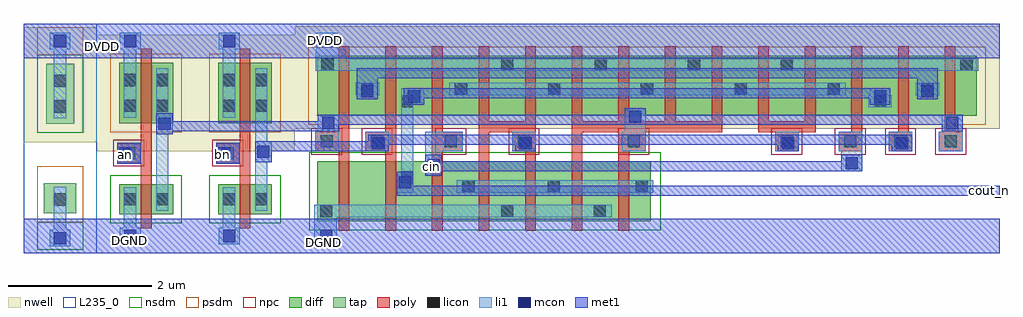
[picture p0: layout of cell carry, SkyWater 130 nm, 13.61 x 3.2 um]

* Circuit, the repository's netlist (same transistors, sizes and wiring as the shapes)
* NGSPICE file created from carry.ext - technology: sky130A

.subckt carry an bn DVDD DGND cin cout_n
X0 DGND a_n455_n7# a_81_n27# DGND sky130_fd_pr__nfet_01v8 ad=0.21 pd=1.34 as=0.21 ps=1.34 w=0.84 l=0.15
X1 a_n179_n27# a_n731_n7# DGND DGND sky130_fd_pr__nfet_01v8 ad=0.21 pd=1.34 as=0.252 ps=2.28 w=0.84 l=0.15
X2 a_81_n27# a_n731_n7# DGND DGND sky130_fd_pr__nfet_01v8 ad=0.252 pd=2.28 as=0.21 ps=1.34 w=0.84 l=0.15
X3 cout_n a_n455_n7# a_n179_267# DVDD sky130_fd_pr__pfet_01v8 ad=0.21 pd=1.34 as=0.21 ps=1.34 w=0.84 l=0.15
X4 DGND a_n731_n7# a_81_n27# DGND sky130_fd_pr__nfet_01v8 ad=0.21 pd=1.34 as=0.21 ps=1.34 w=0.84 l=0.15
X5 a_81_n27# a_n455_n7# DGND DGND sky130_fd_pr__nfet_01v8 ad=0.21 pd=1.34 as=0.21 ps=1.34 w=0.84 l=0.15
X6 a_n455_n7# bn DGND DGND sky130_fd_pr__nfet_01v8 ad=0.126 pd=1.44 as=0.126 ps=1.44 w=0.42 l=0.15
X7 a_n731_n7# an DGND DGND sky130_fd_pr__nfet_01v8 ad=0.126 pd=1.44 as=0.126 ps=1.44 w=0.42 l=0.15
X8 DVDD a_n455_n7# a_81_267# DVDD sky130_fd_pr__pfet_01v8 ad=0.21 pd=1.34 as=0.21 ps=1.34 w=0.84 l=0.15
X9 a_n179_267# a_n731_n7# DVDD DVDD sky130_fd_pr__pfet_01v8 ad=0.21 pd=1.34 as=0.252 ps=2.28 w=0.84 l=0.15
X10 a_81_267# a_n731_n7# DVDD DVDD sky130_fd_pr__pfet_01v8 ad=0.21 pd=1.34 as=0.21 ps=1.34 w=0.84 l=0.15
X11 a_81_n27# cin cout_n DGND sky130_fd_pr__nfet_01v8 ad=0.21 pd=1.34 as=0.21 ps=1.34 w=0.84 l=0.15
X12 DVDD a_n731_n7# a_81_267# DVDD sky130_fd_pr__pfet_01v8 ad=0.21 pd=1.34 as=0.21 ps=1.34 w=0.84 l=0.15
X13 DVDD a_n455_n7# a_81_267# DVDD sky130_fd_pr__pfet_01v8 ad=0.21 pd=1.34 as=0.21 ps=1.34 w=0.84 l=0.15
X14 a_81_267# a_n455_n7# DVDD DVDD sky130_fd_pr__pfet_01v8 ad=0.21 pd=1.34 as=0.21 ps=1.34 w=0.84 l=0.15
X15 a_81_267# a_n455_n7# DVDD DVDD sky130_fd_pr__pfet_01v8 ad=0.21 pd=1.34 as=0.21 ps=1.34 w=0.84 l=0.15
X16 a_81_267# a_n731_n7# DVDD DVDD sky130_fd_pr__pfet_01v8 ad=0.21 pd=1.34 as=0.21 ps=1.34 w=0.84 l=0.15
X17 a_n731_n7# an DVDD DVDD sky130_fd_pr__pfet_01v8 ad=0.252 pd=2.28 as=0.252 ps=2.28 w=0.84 l=0.15
X18 DVDD a_n731_n7# a_n179_267# DVDD sky130_fd_pr__pfet_01v8 ad=0.252 pd=2.28 as=0.21 ps=1.34 w=0.84 l=0.15
X19 DVDD a_n731_n7# a_81_267# DVDD sky130_fd_pr__pfet_01v8 ad=0.21 pd=1.34 as=0.21 ps=1.34 w=0.84 l=0.15
X20 a_n179_267# a_n455_n7# cout_n DVDD sky130_fd_pr__pfet_01v8 ad=0.21 pd=1.34 as=0.21 ps=1.34 w=0.84 l=0.15
X21 a_n455_n7# bn DVDD DVDD sky130_fd_pr__pfet_01v8 ad=0.252 pd=2.28 as=0.252 ps=2.28 w=0.84 l=0.15
X22 cout_n cin a_81_267# DVDD sky130_fd_pr__pfet_01v8 ad=0.21 pd=1.34 as=0.21 ps=1.34 w=0.84 l=0.15
X23 cout_n a_n455_n7# a_n179_n27# DGND sky130_fd_pr__nfet_01v8 ad=0.21 pd=1.34 as=0.21 ps=1.34 w=0.84 l=0.15
X24 a_81_267# cin cout_n DVDD sky130_fd_pr__pfet_01v8 ad=0.21 pd=1.34 as=0.21 ps=1.34 w=0.84 l=0.15
.ends

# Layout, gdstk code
from math import pi, radians
import gdstk
lib = gdstk.Library(unit=1e-6, precision=1e-09)
def R(c, l, rs):  # rectangles x0, y0, x1, y1
    for r in rs: c.add(gdstk.rectangle(r[:2], r[2:], *l))
def A(c, l, x, y, w, h, nx, ny, dx, dy):  # array of equal rectangles
    R(c, l, [(x+i*dx, y+j*dy, x+i*dx+w, y+j*dy+h) for i in range(nx) for j in range(ny)])
def P(c, l, *ps):  # polygons
    for p in ps: c.add(gdstk.Polygon(p, *l))
nwell = (64, 20)
diff = (65, 20)
tap = (65, 44)
poly = (66, 20)
licon = (66, 44)
li1 = (67, 20)
mcon = (67, 44)
met1 = (68, 20)
nsdm = (93, 44)
psdm = (94, 20)
npc = (95, 20)
L235_0 = (235, 0)

vias_gen = lib.new_cell('vias_gen')
R(vias_gen, li1, [(0,0,0.29,0.23)])
R(vias_gen, mcon, [(0.06,0.03,0.23,0.2)])
R(vias_gen, met1, [(0,0,0.29,0.23)])

tap_ = lib.new_cell('tap')
R(tap_, nwell, [(-1.455,0.92,-0.435,2.525)])
R(tap_, tap, [(-1.17,-0.07,-0.72,0.35), (-1.14,1.18,-0.75,2.02)])
R(tap_, licon, [(-1.03,0.04,-0.86,0.21), (-1.03,1.335,-0.86,1.505), (-1.03,1.695,-0.86,1.865)])
R(tap_, li1, [(-1.03,-0.3,-0.86,-0.025), (-1.03,-0.025,-0.86,0.305), (-1.03,1.255,-0.86,1.945), (-1.03,1.945,-0.86,2.25)])
R(tap_, met1, [(-1.455,-0.625,-0.435,-0.145), (-1.455,2.095,-0.435,2.575)])
R(tap_, nsdm, [(-1.265,-0.575,-0.625,-0.195), (-1.265,1.055,-0.625,2.145)])
R(tap_, psdm, [(-1.265,-0.195,-0.625,0.59), (-1.265,2.145,-0.625,2.525)])
R(tap_, L235_0, [(-1.455,-0.625,-0.435,2.575)])
tap_.add(gdstk.Reference(vias_gen, (-1.09,-0.53)))
tap_.add(gdstk.Reference(vias_gen, (-1.09,2.22)))

nfet = lib.new_cell('nfet')

pfet = lib.new_cell('pfet')
R(pfet, nwell, [(-0.315,-0.08,9.515,1.35)])
R(pfet, diff, [(0,0.1,9.2,0.94)])
A(pfet, poly, 0.3, -0.17, 0.15, 1.24, 7, 1, 0.65, 0)
A(pfet, poly, 4.85, -0.125, 0.15, 1.195, 6, 1, 0.65, 0)
P(pfet, poly, [(8.75,-0.125),(8.75,1.07),(8.9,1.07),(8.9,-0.125),(8.835,-0.125)])
R(pfet, psdm, [(-0.125,-0.025,9.325,1.065)])

nfet_3 = lib.new_cell('nfet$3')
R(nfet_3, diff, [(0,0.08,4.65,0.92)])
A(nfet_3, poly, 0.3, -0.05, 0.15, 1.17, 7, 1, 0.65, 0)
R(nfet_3, nsdm, [(-0.11,-0.045,4.79,1.045)])

vias_gen_1 = lib.new_cell('vias_gen$1')
R(vias_gen_1, poly, [(0,0,0.33,0.27)])
R(vias_gen_1, licon, [(0.08,0.05,0.25,0.22)])
R(vias_gen_1, li1, [(0,0,0.33,0.27)])
R(vias_gen_1, npc, [(-0.05,-0.05,0.38,0.32)])

vias_gen_3 = lib.new_cell('vias_gen$3')
R(vias_gen_3, li1, [(0,0,0.29,0.23)])
R(vias_gen_3, mcon, [(0.06,0.03,0.23,0.2)])
R(vias_gen_3, met1, [(0,0,0.29,0.23)])

vias_gen_2 = lib.new_cell('vias_gen$2')

pfet_1 = lib.new_cell('pfet$1')
R(pfet_1, nwell, [(-0.31,-0.39,1.07,1.23)])
R(pfet_1, diff, [(0.005,0,0.755,0.84)])
R(pfet_1, poly, [(0.305,-0.2,0.455,1.04)])
R(pfet_1, licon, [(0.07,0.155,0.24,0.325), (0.52,0.155,0.69,0.325), (0.07,0.515,0.24,0.685), (0.52,0.515,0.69,0.685)])
R(pfet_1, li1, [(0.07,0.075,0.24,0.765), (0.52,0.075,0.69,0.765)])
R(pfet_1, psdm, [(-0.12,-0.125,0.88,0.965)])

nfet_1 = lib.new_cell('nfet$1')
R(nfet_1, diff, [(0.005,0,0.755,0.42)])
R(nfet_1, poly, [(0.305,-0.2,0.455,0.62)])
R(nfet_1, licon, [(0.07,0.125,0.24,0.295), (0.52,0.125,0.69,0.295)])
R(nfet_1, li1, [(0.07,0.045,0.24,0.375), (0.52,0.045,0.69,0.375)])
R(nfet_1, nsdm, [(-0.12,-0.125,0.88,0.545)])

vias_gen_2_1 = lib.new_cell('vias_gen$2$1')
R(vias_gen_2_1, poly, [(0.005,0,0.335,0.27)])
R(vias_gen_2_1, licon, [(0.085,0.05,0.255,0.22)])
R(vias_gen_2_1, li1, [(0.005,0,0.335,0.27)])
R(vias_gen_2_1, npc, [(-0.045,-0.05,0.385,0.32)])

vias_gen_3_1 = lib.new_cell('vias_gen$3$1')
R(vias_gen_3_1, li1, [(0.01,0,0.3,0.23)])
R(vias_gen_3_1, mcon, [(0.07,0.03,0.24,0.2)])
R(vias_gen_3_1, met1, [(0.01,0,0.3,0.23)])

invx1_wo_tap = lib.new_cell('invx1_wo_tap')
R(invx1_wo_tap, met1, [(-0.475,-1.075,0.905,-0.595), (-0.475,1.645,0.905,2.125)])
invx1_wo_tap.add(gdstk.FlexPath([(0.44,0.815),(0.44,-0.155)], 0.17, ends="flush", simple_path=True, layer=67, datatype=20))  # li1
invx1_wo_tap.add(gdstk.FlexPath([(-0.01,-0.485),(-0.01,-0.72)], 0.17, ends="flush", simple_path=True, layer=67, datatype=20))  # li1
invx1_wo_tap.add(gdstk.FlexPath([(-0.01,1.505),(-0.01,1.77)], 0.17, ends="flush", simple_path=True, layer=67, datatype=20))  # li1
invx1_wo_tap.add(gdstk.FlexPath([(0.215,0.09),(0.215,0.54)], 0.15, ends="flush", simple_path=True, layer=66, datatype=20))  # poly
invx1_wo_tap.add(gdstk.Reference(pfet_1, (-0.165,0.74)))
invx1_wo_tap.add(gdstk.Reference(nfet_1, (-0.165,-0.53)))
invx1_wo_tap.add(gdstk.Reference(vias_gen_2_1, (-0.195,0.185)))
invx1_wo_tap.add(gdstk.Reference(vias_gen_3_1, (-0.16,-0.95)))
invx1_wo_tap.add(gdstk.Reference(vias_gen_3_1, (-0.16,1.77)))
invx1_wo_tap.add(gdstk.Label('DVDD', (-0.395,1.805), layer=68, texttype=5))
invx1_wo_tap.add(gdstk.Label('DGND', (-0.01,-0.895), layer=68, texttype=5))

vias_gen_5 = lib.new_cell('vias_gen$5')
R(vias_gen_5, li1, [(0,0,0.29,0.23)])
R(vias_gen_5, mcon, [(0.06,0.03,0.23,0.2)])
R(vias_gen_5, met1, [(0,0,0.29,0.23)])

carry = lib.new_cell('carry')
R(carry, nwell, [(-4.42,0.845,-3.04,2.465)])
R(carry, diff, [(-4.105,-0.035,-3.355,0.385), (-4.105,1.235,-3.355,2.075)])
A(carry, poly, -1.045, 0.905, 0.15, 0.16, 7, 1, 0.65, 0)
R(carry, poly, [(-3.805,-0.235,-3.655,0.585), (-4.135,0.68,-3.805,0.95), (-3.805,1.035,-3.655,2.275)])
R(carry, licon, [(-1.305,-0.075,-1.135,0.095), (1.22,-0.075,1.39,0.095), (2.51,-0.075,2.68,0.095), (-4.04,0.09,-3.87,0.26), (-3.59,0.09,-3.42,0.26), (0.68,0.265,0.85,0.435), (1.87,0.265,2.04,0.435), (3.095,0.265,3.265,0.435), (-0.175,0.395,-0.005,0.565), (-4.055,0.73,-3.885,0.9), (-4.04,1.39,-3.87,1.56), (-3.59,1.39,-3.42,1.56), (-0.175,1.455,-0.005,1.625), (6.42,1.455,6.59,1.625), (-0.73,1.625,-0.56,1.795), (0.575,1.625,0.745,1.795), (1.875,1.625,2.045,1.795), (3.17,1.625,3.34,1.795), (4.475,1.625,4.645,1.795), (5.775,1.625,5.945,1.795), (7.08,1.625,7.25,1.795), (-4.04,1.75,-3.87,1.92), (-3.59,1.75,-3.42,1.92), (-1.285,1.965,-1.115,2.135), (1.22,1.965,1.39,2.135), (2.525,1.965,2.695,2.135), (3.825,1.965,3.995,2.135), (5.12,1.965,5.29,2.135), (7.625,1.965,7.795,2.135)])
R(carry, li1, [(-4.095,-0.455,-3.805,-0.225), (-1.385,-0.455,-1.075,-0.075), (-4.04,0.01,-3.87,0.34), (-3.59,0.01,-3.42,0.34), (0.165,0.5,0.395,1.115), (-4.135,0.68,-3.805,0.95), (5.965,0.79,6.255,0.845), (-1.335,1.115,-1.045,1.12), (2.945,1.115,3.235,1.21), (7.365,1.115,7.655,1.12), (-4.04,1.31,-3.87,2), (-3.59,1.31,-3.42,2), (6.34,1.455,6.67,1.625), (-0.81,1.625,-0.48,1.795), (7,1.625,7.33,1.795), (-1.365,2.135,-0.945,2.265), (-4.095,2.265,-3.805,2.495)])
R(carry, mcon, [(-4.035,-0.425,-3.865,-0.255), (-4.035,2.295,-3.865,2.465)])
R(carry, met1, [(-4.42,-0.58,-3.04,-0.1), (-1.66,-0.58,8.17,-0.1), (-4.095,-0.455,-3.805,-0.225), (-3.905,0.67,-3.805,0.96), (-2.525,0.67,-2.425,0.96), (-0.79,1.795,-0.5,1.86), (7.02,1.795,7.31,1.86), (-4.42,2.14,-3.04,2.62), (-1.66,2.14,8.17,2.62), (-4.095,2.265,-3.805,2.495)])
R(carry, nsdm, [(-4.23,-0.16,-3.23,0.51)])
R(carry, psdm, [(-4.23,1.11,-3.23,2.2)])
R(carry, npc, [(-4.185,0.63,-3.755,1)])
carry.add(gdstk.FlexPath([(-3.505,1.31),(-3.505,0.34)], 0.17, ends="flush", simple_path=True, layer=67, datatype=20))  # li1
carry.add(gdstk.FlexPath([(-3.955,0.01),(-3.955,-0.225)], 0.17, ends="flush", simple_path=True, layer=67, datatype=20))  # li1
carry.add(gdstk.FlexPath([(-3.955,2),(-3.955,2.265)], 0.17, ends="flush", simple_path=True, layer=67, datatype=20))  # li1
carry.add(gdstk.FlexPath([(-1.365,2.05),(7.875,2.05)], 0.17, ends="flush", simple_path=True, layer=67, datatype=20))  # li1
carry.add(gdstk.FlexPath([(0.495,1.71),(6.025,1.71)], 0.17, ends="flush", simple_path=True, layer=67, datatype=20))  # li1
carry.add(gdstk.FlexPath([(3.345,0.35),(0.6,0.35)], 0.17, ends="flush", simple_path=True, layer=67, datatype=20))  # li1
carry.add(gdstk.FlexPath([(2.76,0.01),(-1.385,0.01)], 0.17, ends="flush", simple_path=True, layer=67, datatype=20))  # li1
carry.add(gdstk.FlexPath([(-0.09,1.72),(-0.09,0.315)], 0.17, ends="flush", simple_path=True, layer=67, datatype=20))  # li1
carry.add(gdstk.FlexPath([(-1.22,-0.255),(-1.22,-0.075)], 0.17, ends="flush", simple_path=True, layer=67, datatype=20))  # li1
carry.add(gdstk.FlexPath([(-1.335,1.19),(-3.36,1.19)], 0.14, ends="flush", simple_path=True, layer=68, datatype=20))  # met1
carry.add(gdstk.FlexPath([(-0.635,0.91),(-1.98,0.91)], 0.14, ends="flush", simple_path=True, layer=68, datatype=20))  # met1
carry.add(gdstk.FlexPath([(-0.79,1.93),(7.31,1.93)], 0.14, ends="flush", simple_path=True, layer=68, datatype=20))  # met1
carry.add(gdstk.FlexPath([(0.15,1.65),(6.36,1.65)], 0.14, ends="flush", simple_path=True, layer=68, datatype=20))  # met1
carry.add(gdstk.FlexPath([(-1.045,1.28),(7.365,1.28)], 0.14, ends="flush", simple_path=True, layer=68, datatype=20))  # met1
carry.add(gdstk.FlexPath([(-0.345,1),(6.665,1)], 0.14, ends="flush", simple_path=True, layer=68, datatype=20))  # met1
carry.add(gdstk.FlexPath([(0.38,0.63),(5.965,0.63)], 0.14, ends="flush", simple_path=True, layer=68, datatype=20))  # met1
carry.add(gdstk.FlexPath([(-0.235,0.29),(8.17,0.29)], 0.14, ends="flush", simple_path=True, layer=68, datatype=20))  # met1
carry.add(gdstk.FlexPath([(-3.73,0.585),(-3.73,1.035)], 0.15, ends="flush", simple_path=True, layer=66, datatype=20))  # poly
carry.add(gdstk.FlexPath([(4.805,1.185),(5.605,1.185)], 0.15, ends="flush", simple_path=True, layer=66, datatype=20))  # poly
carry.add(gdstk.FlexPath([(2.205,1.185),(4.305,1.185)], 0.15, ends="flush", simple_path=True, layer=66, datatype=20))  # poly
carry.add(gdstk.FlexPath([(0.905,1.185),(1.705,1.185)], 0.15, ends="flush", simple_path=True, layer=66, datatype=20))  # poly
carry.add(gdstk.Reference(tap_, (-3.985,0.045)))
carry.add(gdstk.Reference(nfet, (-1.345,-0.035)))
carry.add(gdstk.Reference(pfet, (-1.345,1.235)))
carry.add(gdstk.Reference(nfet_3, (-1.345,-0.215)))
carry.add(gdstk.Reference(vias_gen_1, (1.375,0.845)))
carry.add(gdstk.Reference(vias_gen_3, (-0.79,1.565)))
carry.add(gdstk.Reference(vias_gen_3, (-0.14,1.49)))
carry.add(gdstk.Reference(vias_gen_3, (6.36,1.49)))
carry.add(gdstk.Reference(vias_gen_3, (7.02,1.565)))
carry.add(gdstk.Reference(vias_gen_1, (-1.375,0.845)))
carry.add(gdstk.Reference(vias_gen_1, (-0.675,0.845)))
carry.add(gdstk.Reference(vias_gen_1, (0.355,0.845)))
carry.add(gdstk.Reference(vias_gen_1, (2.905,0.845)))
carry.add(gdstk.Reference(vias_gen_1, (5.04,0.845)))
carry.add(gdstk.Reference(vias_gen_1, (5.925,0.845)))
carry.add(gdstk.Reference(vias_gen_1, (6.625,0.845)))
carry.add(gdstk.Reference(vias_gen_1, (7.325,0.845)))
carry.add(gdstk.Reference(vias_gen_3, (-1.35,2.265)))
carry.add(gdstk.Reference(vias_gen_3, (-1.335,1.12)))
carry.add(gdstk.Reference(vias_gen_3, (2.945,1.21)))
carry.add(gdstk.Reference(vias_gen_2, (0.395,0.605)))
carry.add(gdstk.Reference(vias_gen_3, (7.365,1.12)))
carry.add(gdstk.Reference(vias_gen_3, (-0.635,0.84)))
carry.add(gdstk.Reference(vias_gen_3, (1.415,0.84)))
carry.add(gdstk.Reference(vias_gen_3, (5.08,0.84)))
carry.add(gdstk.Reference(vias_gen_3, (6.665,0.84)))
carry.add(gdstk.Reference(vias_gen_3, (5.965,0.56)))
carry.add(gdstk.Reference(vias_gen_3, (0.395,0.5), rotation=pi/2))
carry.add(gdstk.Reference(vias_gen_3, (-0.005,0.265), rotation=pi/2))
carry.add(gdstk.Reference(vias_gen_3, (-1.365,-0.455)))
carry.add(gdstk.Reference(invx1_wo_tap, (-2.565,0.495)))
carry.add(gdstk.Reference(vias_gen_5, (-3.36,1.08), rotation=pi/2))
carry.add(gdstk.Reference(vias_gen_5, (-1.98,0.69), rotation=pi/2))
carry.add(gdstk.Reference(vias_gen_5, (-3.905,0.67), rotation=pi/2))
carry.add(gdstk.Reference(vias_gen_5, (-2.525,0.67), rotation=pi/2))
carry.add(gdstk.Label('an', (-4.02,0.8), layer=68, texttype=5))
carry.add(gdstk.Label('bn', (-2.665,0.79), layer=68, texttype=5))
carry.add(gdstk.Label('DVDD', (-4.34,2.3), layer=68, texttype=5))
carry.add(gdstk.Label('DGND', (-3.955,-0.4), layer=68, texttype=5))
carry.add(gdstk.Label('cin', (0.255,0.63), layer=68, texttype=5))
carry.add(gdstk.Label('DVDD', (-1.23,2.38), layer=68, texttype=5))
carry.add(gdstk.Label('DGND', (-1.255,-0.425), layer=68, texttype=5))
carry.add(gdstk.Label('cout_n', (8.025,0.29), layer=68, texttype=5))

lib.write_gds('carry.gds')
